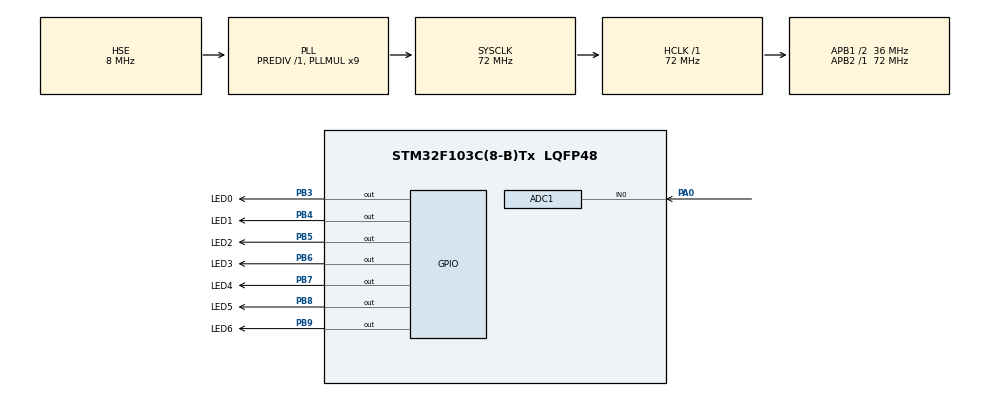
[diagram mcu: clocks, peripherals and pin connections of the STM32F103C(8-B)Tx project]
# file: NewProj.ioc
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ADC1.Channel-0\#ChannelRegularConversion=ADC_CHANNEL_0
ADC1.NbrOfConversionFlag=1
ADC1.Rank-0\#ChannelRegularConversion=1
ADC1.SamplingTime-0\#ChannelRegularConversion=ADC_SAMPLETIME_239CYCLES_5
ADC1.master=1
Mcu.Family=STM32F1
Mcu.Name=STM32F103C(8-B)Tx
Mcu.Package=LQFP48
NVIC.PriorityGroup=NVIC_PRIORITYGROUP_4
PA0-WKUP.Signal=ADCx_IN0
PA13.Mode=Serial_Wire
PA13.Signal=SYS_JTMS-SWDIO
PA14.Mode=Serial_Wire
PA14.Signal=SYS_JTCK-SWCLK
PB3.GPIO_Label=LED0
PB3.Signal=GPIO_Output
PB4.GPIO_Label=LED1
PB4.Signal=GPIO_Output
PB5.GPIO_Label=LED2
PB5.Signal=GPIO_Output
PB6.GPIO_Label=LED3
PB6.Signal=GPIO_Output
PB7.GPIO_Label=LED4
PB7.Signal=GPIO_Output
PB8.GPIO_Label=LED5
PB8.Signal=GPIO_Output
PB9.GPIO_Label=LED6
PB9.Signal=GPIO_Output
PD0-OSC_IN.Mode=HSE-External-Oscillator
PD0-OSC_IN.Signal=RCC_OSC_IN
PD1-OSC_OUT.Mode=HSE-External-Oscillator
PD1-OSC_OUT.Signal=RCC_OSC_OUT
ProjectManager.HeapSize=0x200
ProjectManager.StackSize=0x400
ProjectManager.TargetToolchain=MDK-ARM V5
RCC.ADCPresc=RCC_ADCPCLK2_DIV6
RCC.AHBFreq_Value=72000000
RCC.APB1CLKDivider=RCC_HCLK_DIV2
RCC.APB1Freq_Value=36000000
RCC.APB1TimFreq_Value=72000000
RCC.APB2Freq_Value=72000000
RCC.APB2TimFreq_Value=72000000
RCC.HCLKFreq_Value=72000000
RCC.PLLMUL=RCC_PLL_MUL9
RCC.PLLSourceVirtual=RCC_PLLSOURCE_HSE
RCC.SYSCLKFreq_VALUE=72000000
RCC.SYSCLKSource=RCC_SYSCLKSOURCE_PLLCLK
RCC.USBFreq_Value=72000000
SH.ADCx_IN0.0=ADC1_IN0,IN0
board=custom

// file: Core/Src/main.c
/* USER CODE BEGIN Header */
/**
  ******************************************************************************
  * @file           : main.c
  * @brief          : Main program body
  ******************************************************************************
  * @attention
  *
  * Copyright (c) 2026 STMicroelectronics.
  * All rights reserved.
  *
  * This software is licensed under terms that can be found in the LICENSE file
  * in the root directory of this software component.
  * If no LICENSE file comes with this software, it is provided AS-IS.
  *
  ******************************************************************************
  */
/* USER CODE END Header */
#include "main.h"

/* USER CODE BEGIN PD */

#define ADC_SAMPLES     16u
#define VREF_MV         3300u
#define ADC_FULL_SCALE  4095u
#define LM35_MV_PER_C   10u
#define LED_MASK        (0x7Fu << 3)

/* USER CODE END PD */

/* USER CODE BEGIN PM */

static uint32_t LM35_DocNhietDo(void);
static void     LED_HienThi(uint32_t temp_c);

/* USER CODE END PM */

ADC_HandleTypeDef hadc1;

void SystemClock_Config(void);
static void MX_GPIO_Init(void);
static void MX_ADC1_Init(void);

/* USER CODE BEGIN 0 */

static uint32_t LM35_DocNhietDo(void)
{
    uint32_t acc = 0u;

    for (uint32_t i = 0u; i < ADC_SAMPLES; i++)
    {
        HAL_ADC_Start(&hadc1);
        if (HAL_ADC_PollForConversion(&hadc1, 10u) == HAL_OK)
        {
            acc += HAL_ADC_GetValue(&hadc1);
        }
        HAL_ADC_Stop(&hadc1);
    }

    uint32_t adc_avg = acc / ADC_SAMPLES;
    uint32_t mv      = (adc_avg * VREF_MV) / ADC_FULL_SCALE;
    return mv / LM35_MV_PER_C;
}

static void LED_HienThi(uint32_t temp_c)
{
    if (temp_c > 127u) { temp_c = 127u; }

    uint32_t odr = GPIOB->ODR;
    odr &= ~LED_MASK;
    odr |= (temp_c & 0x7Fu) << 3;
    GPIOB->ODR = odr;
}

/* USER CODE END 0 */

int main(void)
{

  /* MCU Configuration--------------------------------------------------------*/

  /* Reset of all peripherals, Initializes the Flash interface and the Systick. */
  HAL_Init();

  /* Configure the system clock */
  SystemClock_Config();

  /* Initialize all configured peripherals */
  MX_GPIO_Init();
  MX_ADC1_Init();
  /* USER CODE BEGIN 2 */

	HAL_ADCEx_Calibration_Start(&hadc1);

  /* USER CODE END 2 */

  /* Infinite loop */
  while (1)
  {

		uint32_t temp_c = LM35_DocNhietDo();
    LED_HienThi(temp_c);
    HAL_Delay(50u);

  }
}

void SystemClock_Config(void)
{
  RCC_OscInitTypeDef RCC_OscInitStruct = {0};
  RCC_ClkInitTypeDef RCC_ClkInitStruct = {0};
  RCC_PeriphCLKInitTypeDef PeriphClkInit = {0};

  /** Initializes the RCC Oscillators according to the specified parameters
  * in the RCC_OscInitTypeDef structure.
  */
  RCC_OscInitStruct.OscillatorType = RCC_OSCILLATORTYPE_HSE;
  RCC_OscInitStruct.HSEState = RCC_HSE_ON;
  RCC_OscInitStruct.HSEPredivValue = RCC_HSE_PREDIV_DIV1;
  RCC_OscInitStruct.HSIState = RCC_HSI_ON;
  RCC_OscInitStruct.PLL.PLLState = RCC_PLL_ON;
  RCC_OscInitStruct.PLL.PLLSource = RCC_PLLSOURCE_HSE;
  RCC_OscInitStruct.PLL.PLLMUL = RCC_PLL_MUL9;
  if (HAL_RCC_OscConfig(&RCC_OscInitStruct) != HAL_OK)
  {
    Error_Handler();
  }

  /** Initializes the CPU, AHB and APB buses clocks
  */
  RCC_ClkInitStruct.ClockType = RCC_CLOCKTYPE_HCLK|RCC_CLOCKTYPE_SYSCLK
                              |RCC_CLOCKTYPE_PCLK1|RCC_CLOCKTYPE_PCLK2;
  RCC_ClkInitStruct.SYSCLKSource = RCC_SYSCLKSOURCE_PLLCLK;
  RCC_ClkInitStruct.AHBCLKDivider = RCC_SYSCLK_DIV1;
  RCC_ClkInitStruct.APB1CLKDivider = RCC_HCLK_DIV2;
  RCC_ClkInitStruct.APB2CLKDivider = RCC_HCLK_DIV1;

  if (HAL_RCC_ClockConfig(&RCC_ClkInitStruct, FLASH_LATENCY_2) != HAL_OK)
  {
    Error_Handler();
  }
  PeriphClkInit.PeriphClockSelection = RCC_PERIPHCLK_ADC;
  PeriphClkInit.AdcClockSelection = RCC_ADCPCLK2_DIV6;
  if (HAL_RCCEx_PeriphCLKConfig(&PeriphClkInit) != HAL_OK)
  {
    Error_Handler();
  }
}

static void MX_ADC1_Init(void)
{

  ADC_ChannelConfTypeDef sConfig = {0};

  /** Common config
  */
  hadc1.Instance = ADC1;
  hadc1.Init.ScanConvMode = ADC_SCAN_DISABLE;
  hadc1.Init.ContinuousConvMode = DISABLE;
  hadc1.Init.DiscontinuousConvMode = DISABLE;
  hadc1.Init.ExternalTrigConv = ADC_SOFTWARE_START;
  hadc1.Init.DataAlign = ADC_DATAALIGN_RIGHT;
  hadc1.Init.NbrOfConversion = 1;
  if (HAL_ADC_Init(&hadc1) != HAL_OK)
  {
    Error_Handler();
  }

  /** Configure Regular Channel
  */
  sConfig.Channel = ADC_CHANNEL_0;
  sConfig.Rank = ADC_REGULAR_RANK_1;
  sConfig.SamplingTime = ADC_SAMPLETIME_239CYCLES_5;
  if (HAL_ADC_ConfigChannel(&hadc1, &sConfig) != HAL_OK)
  {
    Error_Handler();
  }

}

static void MX_GPIO_Init(void)
{
  GPIO_InitTypeDef GPIO_InitStruct = {0};

  /* GPIO Ports Clock Enable */
  __HAL_RCC_GPIOD_CLK_ENABLE();
  __HAL_RCC_GPIOA_CLK_ENABLE();
  __HAL_RCC_GPIOB_CLK_ENABLE();

  /*Configure GPIO pin Output Level */
  HAL_GPIO_WritePin(GPIOB, LED0_Pin|LED1_Pin|LED2_Pin|LED3_Pin
                          |LED4_Pin|LED5_Pin|LED6_Pin, GPIO_PIN_RESET);

  /*Configure GPIO pins : LED0_Pin LED1_Pin LED2_Pin LED3_Pin
                           LED4_Pin LED5_Pin LED6_Pin */
  GPIO_InitStruct.Pin = LED0_Pin|LED1_Pin|LED2_Pin|LED3_Pin
                          |LED4_Pin|LED5_Pin|LED6_Pin;
  GPIO_InitStruct.Mode = GPIO_MODE_OUTPUT_PP;
  GPIO_InitStruct.Pull = GPIO_NOPULL;
  GPIO_InitStruct.Speed = GPIO_SPEED_FREQ_LOW;
  HAL_GPIO_Init(GPIOB, &GPIO_InitStruct);

}

void Error_Handler(void)
{
  __disable_irq();
  while (1)
  {
  }
}
